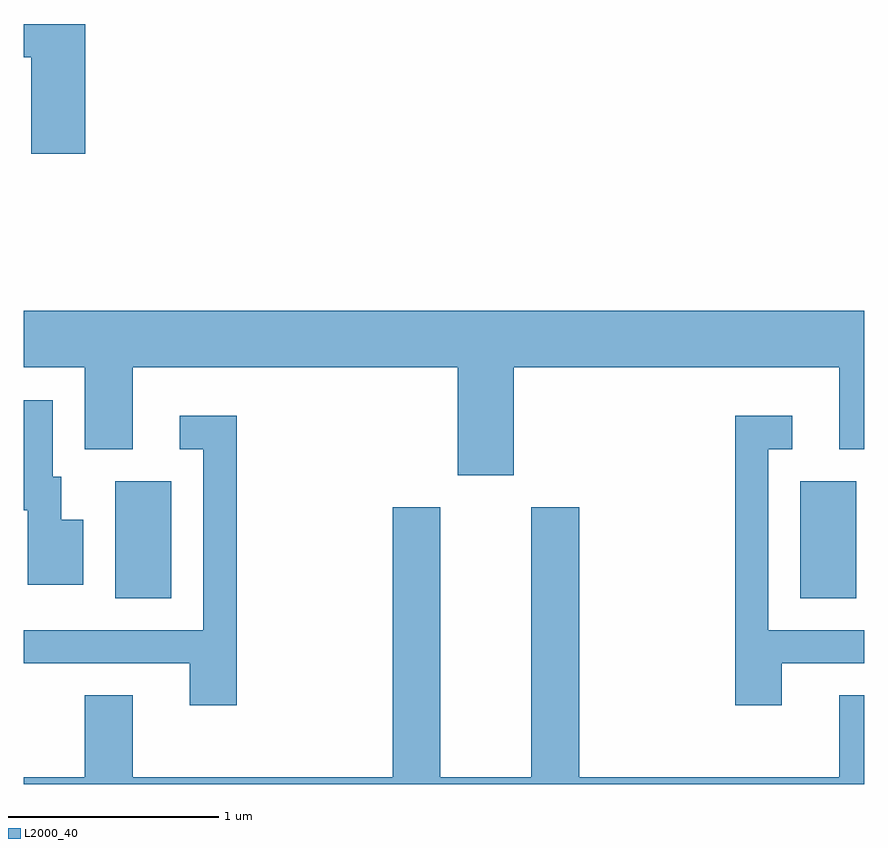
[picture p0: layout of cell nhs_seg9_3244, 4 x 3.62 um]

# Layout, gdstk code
import gdstk
lib = gdstk.Library(unit=1e-6, precision=1e-09)
def R(c, l, rs):  # rectangles x0, y0, x1, y1
    for r in rs: c.add(gdstk.rectangle(r[:2], r[2:], *l))
def P(c, l, *ps):  # polygons
    for p in ps: c.add(gdstk.Polygon(p, *l))
L2000_40 = (2000, 40)

nhs_seg9_3244 = lib.new_cell('nhs_seg9_3244')
R(nhs_seg9_3244, L2000_40, [(280.046,2057.316,280.314,2057.874), (283.306,2057.316,283.574,2057.874)])
P(nhs_seg9_3244, L2000_40, [(279.904,2060.049),(279.611,2060.049),(279.611,2059.891),(279.646,2059.891),(279.646,2059.431),(279.904,2059.431)],
  [(281.944,2058.416),(283.491,2058.416),(283.491,2058.026),(283.611,2058.026),(283.611,2058.684),(279.611,2058.684),(279.611,2058.416),(279.901,2058.416),(279.901,2058.026),(280.129,2058.026),(280.129,2058.416),(281.676,2058.416),(281.676,2057.901),(281.944,2057.901)],
  [(279.894,2057.689),(279.789,2057.689),(279.789,2057.894),(279.749,2057.894),(279.749,2058.259),(279.611,2058.259),(279.611,2057.736),(279.631,2057.736),(279.631,2057.381),(279.894,2057.381)],
  [(283.219,2057.006),(283.611,2057.006),(283.611,2057.164),(283.154,2057.164),(283.154,2058.026),(283.268,2058.026),(283.268,2058.184),(282.996,2058.184),(282.996,2056.806),(283.219,2056.806)],
  [(280.624,2058.184),(280.353,2058.184),(280.353,2058.026),(280.466,2058.026),(280.466,2057.164),(279.611,2057.164),(279.611,2057.006),(280.401,2057.006),(280.401,2056.806),(280.624,2056.806)],
  [(283.611,2056.854),(283.491,2056.854),(283.491,2056.464),(282.254,2056.464),(282.254,2057.749),(282.026,2057.749),(282.026,2056.464),(281.594,2056.464),(281.594,2057.749),(281.366,2057.749),(281.366,2056.464),(280.129,2056.464),(280.129,2056.854),(279.901,2056.854),(279.901,2056.464),(279.611,2056.464),(279.611,2056.432),(283.611,2056.432)])

lib.write_gds('nhs_seg9_3244.gds')
